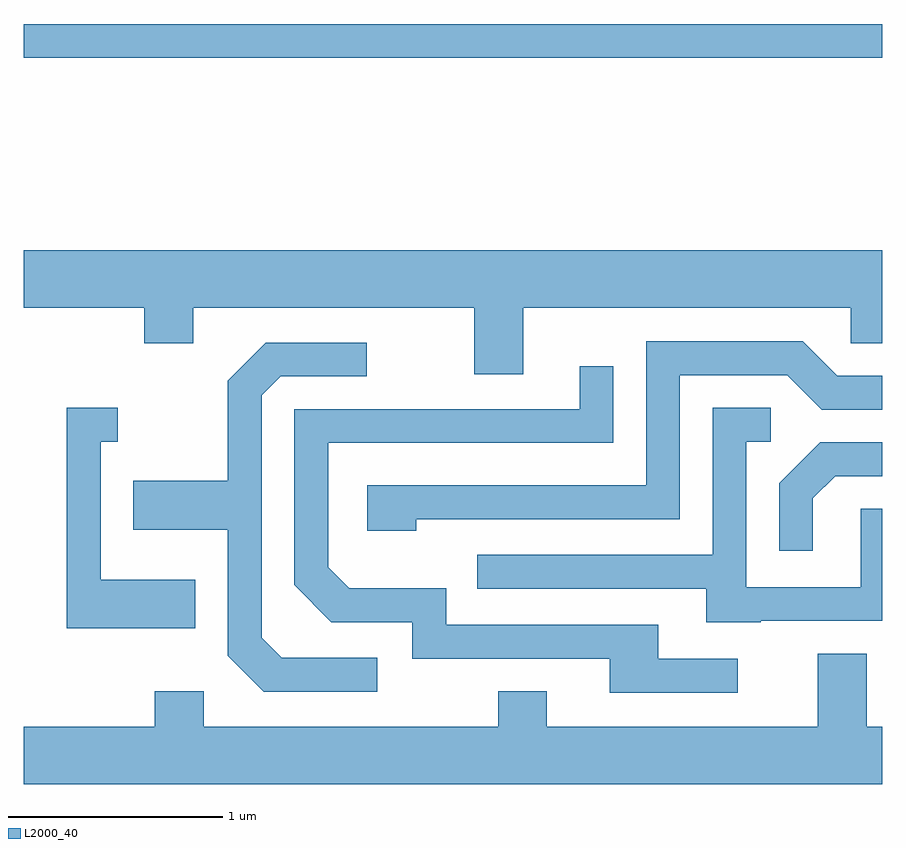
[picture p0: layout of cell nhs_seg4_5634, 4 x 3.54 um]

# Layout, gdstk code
import gdstk
lib = gdstk.Library(unit=1e-6, precision=1e-09)
def R(c, l, rs):  # rectangles x0, y0, x1, y1
    for r in rs: c.add(gdstk.rectangle(r[:2], r[2:], *l))
def P(c, l, *ps):  # polygons
    for p in ps: c.add(gdstk.Polygon(p, *l))
L2000_40 = (2000, 40)

nhs_seg4_5634 = lib.new_cell('nhs_seg4_5634')
R(nhs_seg4_5634, L2000_40, [(349.611,1373.601,353.611,1373.759)])
P(nhs_seg4_5634, L2000_40, [(349.611,1372.436),(350.171,1372.436),(350.171,1372.271),(350.399,1372.271),(350.399,1372.436),(351.711,1372.436),(351.711,1372.126),(351.939,1372.126),(351.939,1372.436),(353.466,1372.436),(353.466,1372.271),(353.611,1372.271),(353.611,1372.704),(349.611,1372.704)],
  [(351.439,1371.451),(352.669,1371.451),(352.669,1372.121),(353.169,1372.121),(353.329,1371.961),(353.611,1371.961),(353.611,1372.119),(353.402,1372.119),(353.242,1372.279),(352.511,1372.279),(352.511,1371.609),(351.211,1371.609),(351.211,1371.396),(351.439,1371.396)],
  [(351.258,1370.804),(350.812,1370.804),(350.719,1370.897),(350.719,1372.029),(350.807,1372.116),(351.208,1372.116),(351.208,1372.274),(350.739,1372.274),(350.561,1372.097),(350.561,1371.629),(350.121,1371.629),(350.121,1371.401),(350.561,1371.401),(350.561,1370.814),(350.729,1370.646),(351.258,1370.646)],
  [(352.938,1370.799),(352.569,1370.799),(352.569,1370.959),(351.579,1370.959),(351.579,1371.129),(351.127,1371.129),(351.029,1371.227),(351.029,1371.806),(352.359,1371.806),(352.359,1372.163),(352.201,1372.163),(352.201,1371.964),(350.871,1371.964),(350.871,1371.144),(351.044,1370.971),(351.421,1370.971),(351.421,1370.801),(352.341,1370.801),(352.341,1370.641),(352.938,1370.641)],
  [(353.045,1370.976),(353.611,1370.976),(353.611,1371.499),(353.511,1371.499),(353.511,1371.134),(352.979,1371.134),(352.979,1371.811),(353.093,1371.811),(353.093,1371.969),(352.821,1371.969),(352.821,1371.284),(351.723,1371.284),(351.723,1371.126),(352.791,1371.126),(352.791,1370.971),(353.045,1370.971)],
  [(350.409,1371.169),(349.969,1371.169),(349.969,1371.811),(350.048,1371.811),(350.048,1371.969),(349.811,1371.969),(349.811,1370.941),(350.409,1370.941)],
  [(353.289,1371.549),(353.392,1371.651),(353.611,1371.651),(353.611,1371.809),(353.324,1371.809),(353.131,1371.617),(353.131,1371.303),(353.289,1371.303)],
  [(353.611,1370.484),(353.539,1370.484),(353.539,1370.824),(353.311,1370.824),(353.311,1370.484),(352.049,1370.484),(352.049,1370.649),(351.821,1370.649),(351.821,1370.484),(350.449,1370.484),(350.449,1370.649),(350.221,1370.649),(350.221,1370.484),(349.611,1370.484),(349.611,1370.216),(353.611,1370.216)])

lib.write_gds('nhs_seg4_5634.gds')
